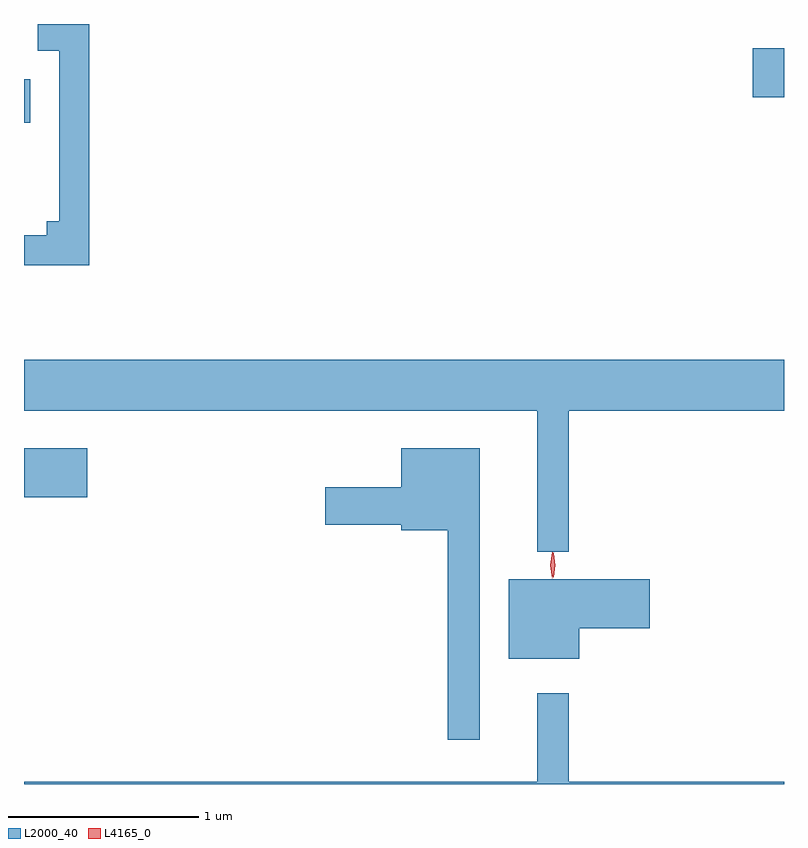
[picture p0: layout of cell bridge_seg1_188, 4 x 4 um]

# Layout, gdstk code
import gdstk
lib = gdstk.Library(unit=1e-6, precision=1e-09)
def R(c, l, rs):  # rectangles x0, y0, x1, y1
    for r in rs: c.add(gdstk.rectangle(r[:2], r[2:], *l))
def P(c, l, *ps):  # polygons
    for p in ps: c.add(gdstk.Polygon(p, *l))
L2000_40 = (2000, 40)
L4165_0 = (4165, 0)

bridge_seg1_188 = lib.new_cell('bridge_seg1_188')
R(bridge_seg1_188, L2000_40, [(686.171,936.861,686.504,937.119), (686.171,938.831,686.204,939.059), (690.006,938.966,690.171,939.224)])
P(bridge_seg1_188, L2000_40, [(686.514,939.351),(686.243,939.351),(686.243,939.211),(686.356,939.211),(686.356,938.314),(686.291,938.314),(686.291,938.239),(686.171,938.239),(686.171,938.081),(686.514,938.081)],
  [(689.039,937.316),(690.171,937.316),(690.171,937.584),(686.171,937.584),(686.171,937.316),(688.871,937.316),(688.871,936.573),(689.039,936.573)],
  [(688.569,937.119),(688.156,937.119),(688.156,936.914),(687.756,936.914),(687.756,936.716),(688.156,936.716),(688.156,936.686),(688.401,936.686),(688.401,935.583),(688.569,935.583)],
  [(689.094,936.171),(689.464,936.171),(689.464,936.429),(688.721,936.429),(688.721,936.011),(689.094,936.011)],
  [(690.171,935.364),(689.039,935.364),(689.039,935.828),(688.871,935.828),(688.871,935.364),(686.171,935.364),(686.171,935.351),(690.171,935.351)])
P(bridge_seg1_188, L4165_0, [(688.95,936.434),(688.942,936.502),(688.952,936.57),(688.952,936.57),(688.953,936.57),(688.962,936.502),(688.951,936.434),(688.951,936.434)],
  [(688.957,936.44),(688.948,936.503),(688.957,936.566),(688.958,936.567),(688.958,936.566),(688.968,936.503),(688.958,936.44),(688.958,936.44)])

lib.write_gds('bridge_seg1_188.gds')
